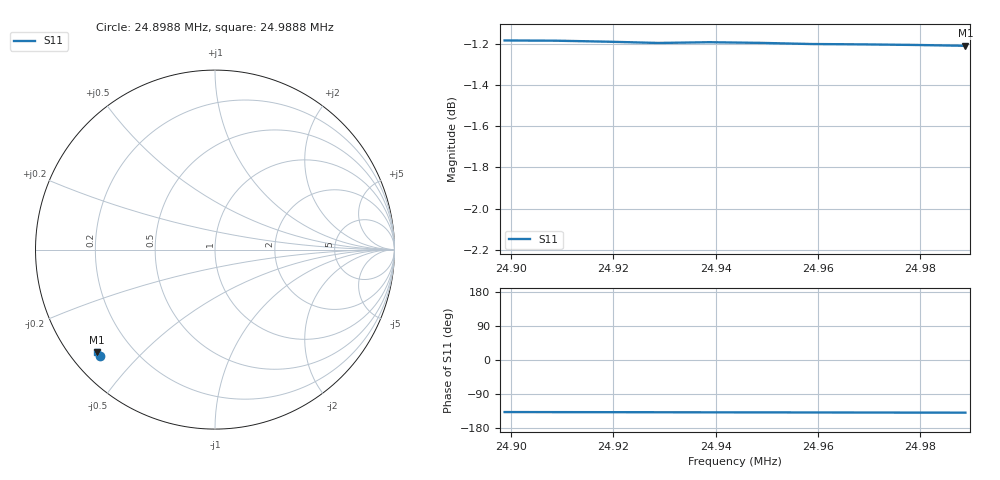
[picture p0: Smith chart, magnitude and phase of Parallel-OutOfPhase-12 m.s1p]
# HZ S RI R 50
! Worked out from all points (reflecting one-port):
!   10 points, 24.8988 MHz to 24.9888 MHz, reference 50 ohm
!   lowest |S11| = -1.2 dB at 24.9888 MHz (marker M1), VSWR 14.40, Z = 3.96 - j18.6 ohm
!   phase of S11 starts at -137 deg and turns -2 deg over the sweep
2.489876e7  -0.6423 -0.5909
2.490876e7  -0.6439 -0.5889
2.491876e7  -0.6451 -0.5869
2.492877e7  -0.6468 -0.5841
2.493877e7  -0.6489 -0.5823
2.494878e7  -0.6503 -0.5802
2.495878e7  -0.6517 -0.5779
2.496878e7  -0.6534 -0.5757
2.497879e7  -0.6549 -0.5735
2.498879e7  -0.6564 -0.5712
